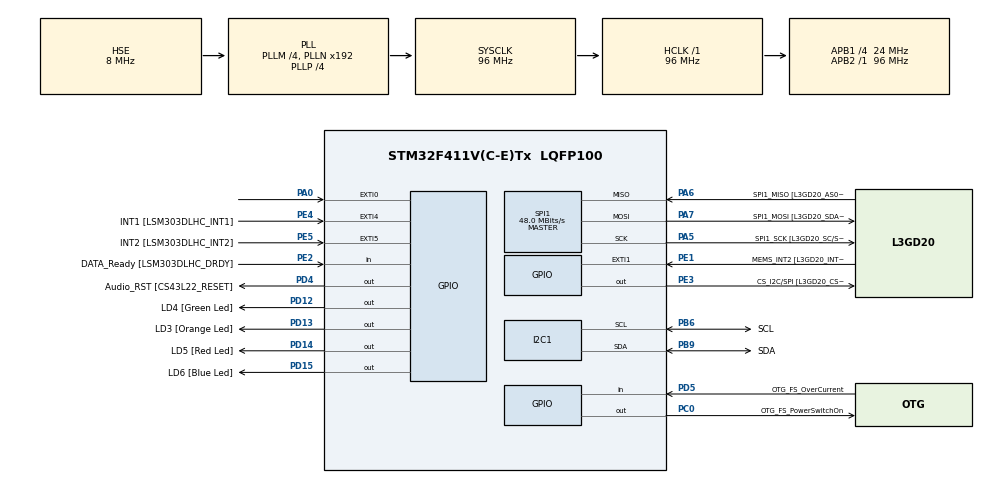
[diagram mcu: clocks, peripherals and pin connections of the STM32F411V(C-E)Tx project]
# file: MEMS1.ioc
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Mcu.Family=STM32F4
Mcu.Name=STM32F411V(C-E)Tx
Mcu.Package=LQFP100
NVIC.PriorityGroup=NVIC_PRIORITYGROUP_0
PA0-WKUP.GPIO_ModeDefaultEXTI=GPIO_MODE_EVT_RISING
PA0-WKUP.Signal=GPXTI0
PA10.GPIO_Label=OTG_FS_ID
PA10.Signal=USB_OTG_FS_ID
PA11.GPIO_Label=OTG_FS_DM
PA11.Signal=USB_OTG_FS_DM
PA12.GPIO_Label=OTG_FS_DP
PA12.Signal=USB_OTG_FS_DP
PA13.GPIO_Label=SWDIO
PA13.Mode=Serial_Wire
PA13.Signal=SYS_JTMS-SWDIO
PA14.GPIO_Label=SWCLK
PA14.Mode=Serial_Wire
PA14.Signal=SYS_JTCK-SWCLK
PA4.GPIO_Label=I2S3_WS [CS43L22_LRCK]
PA4.GPIO_Mode=GPIO_MODE_AF_PP
PA4.GPIO_PuPd=GPIO_NOPULL
PA4.GPIO_Speed=GPIO_SPEED_FREQ_LOW
PA4.Signal=I2S3_WS
PA5.GPIO_Label=SPI1_SCK [L3GD20_SC/SPC]
PA5.Mode=Full_Duplex_Master
PA5.Signal=SPI1_SCK
PA6.GPIO_Label=SPI1_MISO [L3GD20_AS0/SDO]
PA6.Mode=Full_Duplex_Master
PA6.Signal=SPI1_MISO
PA7.GPIO_Label=SPI1_MOSI [L3GD20_SDA/SDI/SDO]
PA7.Mode=Full_Duplex_Master
PA7.Signal=SPI1_MOSI
PA9.GPIO_Label=VBUS_FS
PA9.Signal=USB_OTG_FS_VBUS
PB10.GPIO_Label=CLK_IN [MP45DT02_CLK]
PB10.Signal=I2S2_CK
PB12.Signal=I2S2_WS
PB3.GPIO_Label=SWO
PB3.Signal=SYS_JTDO-SWO
PB6.GPIO_Label=SCL
PB6.GPIO_Mode=GPIO_MODE_AF_OD
PB6.GPIO_Pu=GPIO_PULLUP
PB6.GPIO_PuPd=GPIO_NOPULL
PB6.GPIO_Speed=GPIO_SPEED_FREQ_LOW
PB6.Mode=I2C
PB6.Signal=I2C1_SCL
PB9.GPIO_Label=SDA
PB9.GPIO_Mode=GPIO_MODE_AF_OD
PB9.GPIO_Pu=GPIO_PULLUP
PB9.GPIO_PuPd=GPIO_NOPULL
PB9.GPIO_Speed=GPIO_SPEED_FREQ_LOW
PB9.Mode=I2C
PB9.Signal=I2C1_SDA
PC0.GPIO_Label=OTG_FS_PowerSwitchOn
PC0.PinState=GPIO_PIN_SET
PC0.Signal=GPIO_Output
PC10.GPIO_Label=I2S3_SCK [CS43L22_SCLK]
PC10.GPIO_Mode=GPIO_MODE_AF_PP
PC10.GPIO_PuPd=GPIO_NOPULL
PC10.GPIO_Speed=GPIO_SPEED_FREQ_LOW
PC10.Signal=I2S3_CK
PC12.GPIO_Label=I2S3_SD [CS43L22_SDIN]
PC12.GPIO_Mode=GPIO_MODE_AF_PP
PC12.GPIO_PuPd=GPIO_NOPULL
PC12.GPIO_Speed=GPIO_SPEED_FREQ_LOW
PC12.Signal=I2S3_SD
PC14-OSC32_IN.GPIO_Label=PC14-OSC32_IN
PC14-OSC32_IN.Mode=LSE-External-Clock-Source
PC14-OSC32_IN.Signal=RCC_OSC32_IN
PC15-OSC32_OUT.GPIO_Label=PC15-OSC32_OUT
PC15-OSC32_OUT.Mode=LSE-External-Clock-Source
PC15-OSC32_OUT.Signal=RCC_OSC32_OUT
PC3.GPIO_Label=PDM_OUT [MP45DT02_DOUT]
PC3.Signal=I2S2_SD
PC7.GPIO_Label=I2S3_MCK [CS43L22_MCLK]
PC7.GPIO_Mode=GPIO_MODE_AF_PP
PC7.GPIO_PuPd=GPIO_NOPULL
PC7.GPIO_Speed=GPIO_SPEED_FREQ_LOW
PC7.Signal=I2S3_MCK
PD12.GPIO_Label=LD4 [Green Led]
PD12.GPIO_PuPd=GPIO_NOPULL
PD12.GPIO_Speed=GPIO_SPEED_FREQ_LOW
PD12.Signal=GPIO_Output
PD13.GPIO_Label=LD3 [Orange Led]
PD13.GPIO_PuPd=GPIO_NOPULL
PD13.GPIO_Speed=GPIO_SPEED_FREQ_LOW
PD13.Signal=GPIO_Output
PD14.GPIO_Label=LD5 [Red Led]
PD14.GPIO_PuPd=GPIO_NOPULL
PD14.GPIO_Speed=GPIO_SPEED_FREQ_LOW
PD14.Signal=GPIO_Output
PD15.GPIO_Label=LD6 [Blue Led]
PD15.GPIO_PuPd=GPIO_NOPULL
PD15.GPIO_Speed=GPIO_SPEED_FREQ_LOW
PD15.Signal=GPIO_Output
PD4.GPIO_Label=Audio_RST [CS43L22_RESET]
PD4.Signal=GPIO_Output
PD5.GPIO_Label=OTG_FS_OverCurrent
PD5.Signal=GPIO_Input
PE1.GPIO_Label=MEMS_INT2 [L3GD20_INT2]
PE1.GPIO_ModeDefaultEXTI=GPIO_MODE_EVT_RISING
PE1.Signal=GPXTI1
PE2.GPIO_Label=DATA_Ready [LSM303DLHC_DRDY]
PE2.Signal=GPIO_Input
PE3.GPIO_Label=CS_I2C/SPI [L3GD20_CS_I2C/SPI]
PE3.Signal=GPIO_Output
PE4.GPIO_Label=INT1 [LSM303DLHC_INT1]
PE4.GPIO_ModeDefaultEXTI=GPIO_MODE_EVT_RISING
PE4.Signal=GPXTI4
PE5.GPIO_Label=INT2 [LSM303DLHC_INT2]
PE5.GPIO_ModeDefaultEXTI=GPIO_MODE_EVT_RISING
PE5.Signal=GPXTI5
PH0\ -\ OSC_IN.GPIO_Label=PH0-OSC_IN
PH0\ -\ OSC_IN.Mode=HSE-External-Oscillator
PH0\ -\ OSC_IN.Signal=RCC_OSC_IN
PH1\ -\ OSC_OUT.GPIO_Label=PH1-OSC_OUT
PH1\ -\ OSC_OUT.Mode=HSE-External-Oscillator
PH1\ -\ OSC_OUT.Signal=RCC_OSC_OUT
ProjectManager.HeapSize=0x200
ProjectManager.StackSize=0x400
ProjectManager.TargetToolchain=STM32CubeIDE
RCC.48MHZClocksFreq_Value=48000000
RCC.AHBFreq_Value=96000000
RCC.APB1CLKDivider=RCC_HCLK_DIV4
RCC.APB1Freq_Value=24000000
RCC.APB1TimFreq_Value=48000000
RCC.APB2Freq_Value=96000000
RCC.APB2TimFreq_Value=96000000
RCC.CortexFreq_Value=96000000
RCC.HCLKFreq_Value=96000000
RCC.HSE_VALUE=8000000
RCC.HSI_VALUE=16000000
RCC.PLLI2SM=5
RCC.PLLI2SN=200
RCC.PLLM=4
RCC.PLLP=RCC_PLLP_DIV4
RCC.PLLQ=8
RCC.PLLSourceVirtual=RCC_PLLSOURCE_HSE
RCC.SYSCLKFreq_VALUE=96000000
RCC.SYSCLKSource=RCC_SYSCLKSOURCE_PLLCLK
RCC.VCOOutputFreq_Value=384000000
SPI1.CalculateBaudRate=48.0 MBits/s
SPI1.Direction=SPI_DIRECTION_2LINES
SPI1.Mode=SPI_MODE_MASTER
SPI1.VirtualType=VM_MASTER
board=STM32F411E-DISCO

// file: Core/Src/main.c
/* USER CODE BEGIN Header */
/**
  ******************************************************************************
  * @file           : main.c
  * @brief          : Main program body
  ******************************************************************************
  * @attention
  *
  * Copyright (c) 2022 STMicroelectronics.
  * All rights reserved.
  *
  * This software is licensed under terms that can be found in the LICENSE file
  * in the root directory of this software component.
  * If no LICENSE file comes with this software, it is provided AS-IS.
  *
  ******************************************************************************
  */
/* USER CODE END Header */
#include "main.h"
#include "i2c.h"
#include "spi.h"
#include "gpio.h"

/* USER CODE BEGIN Includes */
#include "stm32f411e_discovery_accelerometer.h"
/* USER CODE END Includes */

void SystemClock_Config(void);

int main(void)
{

  /* MCU Configuration--------------------------------------------------------*/

  /* Reset of all peripherals, Initializes the Flash interface and the Systick. */
  HAL_Init();

  /* Configure the system clock */
  SystemClock_Config();

  /* USER CODE BEGIN SysInit */
  BSP_LED_Init(LED3);
  BSP_LED_Init(LED4);
  BSP_LED_Init(LED5);
  BSP_LED_Init(LED6);
  BSP_ACCELERO_Init();

  /* USER CODE END SysInit */

  /* Initialize all configured peripherals */
  MX_GPIO_Init();
  MX_I2C1_Init();
  MX_SPI1_Init();
  /* USER CODE BEGIN 2 */
  int16_t xyz[3]={0};
  /* USER CODE END 2 */

  /* Infinite loop */
  /* USER CODE BEGIN WHILE */
  while (1)
  {
	  BSP_ACCELERO_GetXYZ(xyz);
	  printf("Received: %d, %d, %d", xyz[0],xyz[1],xyz[2]);

	  BSP_LED_Off(LED3); //Orange OFF
	  BSP_LED_Off(LED4); //Green OFF
	  BSP_LED_Off(LED5); //Red OFF
	  BSP_LED_Off(LED6); //Blue OFF

	  // when x+ --> Red ON
      // when x- --> Green ON
      // when y+ --> Orange ON
      // when y- --> Blue ON

	  if (xyz[1]>0.0) {
		  BSP_LED_On(LED3); //Orange
	  }
	  else {
		  BSP_LED_On(LED6); //Blue
	  }
	  if (xyz[0]>0.0) {
		  BSP_LED_On(LED5); //Red
	  }
	  else {
		  BSP_LED_On(LED4); //Green
	  }
    /* USER CODE END WHILE */

  }
}

void SystemClock_Config(void)
{
  RCC_OscInitTypeDef RCC_OscInitStruct = {0};
  RCC_ClkInitTypeDef RCC_ClkInitStruct = {0};

  /** Configure the main internal regulator output voltage
  */
  __HAL_RCC_PWR_CLK_ENABLE();
  __HAL_PWR_VOLTAGESCALING_CONFIG(PWR_REGULATOR_VOLTAGE_SCALE1);

  /** Initializes the RCC Oscillators according to the specified parameters
  * in the RCC_OscInitTypeDef structure.
  */
  RCC_OscInitStruct.OscillatorType = RCC_OSCILLATORTYPE_HSE;
  RCC_OscInitStruct.HSEState = RCC_HSE_ON;
  RCC_OscInitStruct.PLL.PLLState = RCC_PLL_ON;
  RCC_OscInitStruct.PLL.PLLSource = RCC_PLLSOURCE_HSE;
  RCC_OscInitStruct.PLL.PLLM = 4;
  RCC_OscInitStruct.PLL.PLLN = 192;
  RCC_OscInitStruct.PLL.PLLP = RCC_PLLP_DIV4;
  RCC_OscInitStruct.PLL.PLLQ = 8;
  if (HAL_RCC_OscConfig(&RCC_OscInitStruct) != HAL_OK)
  {
    Error_Handler();
  }

  /** Initializes the CPU, AHB and APB buses clocks
  */
  RCC_ClkInitStruct.ClockType = RCC_CLOCKTYPE_HCLK|RCC_CLOCKTYPE_SYSCLK
                              |RCC_CLOCKTYPE_PCLK1|RCC_CLOCKTYPE_PCLK2;
  RCC_ClkInitStruct.SYSCLKSource = RCC_SYSCLKSOURCE_PLLCLK;
  RCC_ClkInitStruct.AHBCLKDivider = RCC_SYSCLK_DIV1;
  RCC_ClkInitStruct.APB1CLKDivider = RCC_HCLK_DIV4;
  RCC_ClkInitStruct.APB2CLKDivider = RCC_HCLK_DIV1;

  if (HAL_RCC_ClockConfig(&RCC_ClkInitStruct, FLASH_LATENCY_3) != HAL_OK)
  {
    Error_Handler();
  }
}

void Error_Handler(void)
{
  __disable_irq();
  while (1)
  {
  }
}
